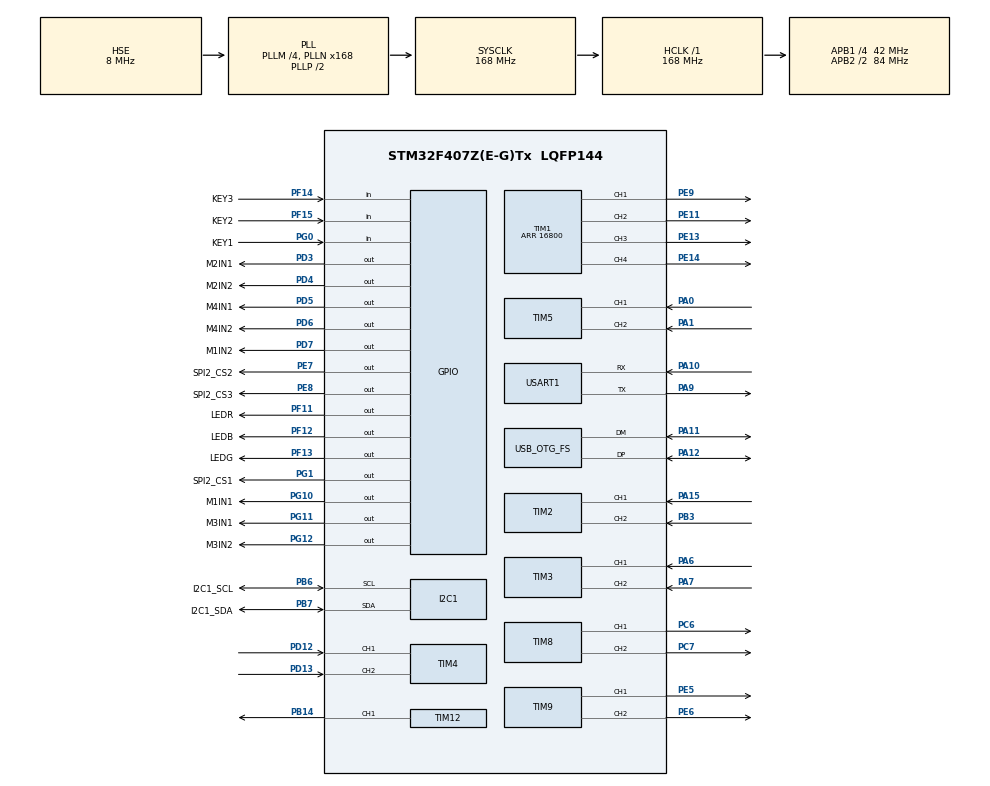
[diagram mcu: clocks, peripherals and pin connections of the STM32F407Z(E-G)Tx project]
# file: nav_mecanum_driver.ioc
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FREERTOS.BinarySemaphores01=MicroROSSemaphore,Dynamic,NULL
FREERTOS.INCLUDE_eTaskGetState=1
FREERTOS.INCLUDE_pcTaskGetTaskName=1
FREERTOS.INCLUDE_uxTaskGetStackHighWaterMark=1
FREERTOS.INCLUDE_uxTaskGetStackHighWaterMark2=1
FREERTOS.INCLUDE_uxTaskPriorityGet=1
FREERTOS.INCLUDE_vTaskCleanUpResources=1
FREERTOS.INCLUDE_vTaskDelayUntil=1
FREERTOS.INCLUDE_vTaskDelete=1
FREERTOS.INCLUDE_vTaskPrioritySet=1
FREERTOS.INCLUDE_xEventGroupSetBitFromISR=1
FREERTOS.INCLUDE_xQueueGetMutexHolder=1
FREERTOS.INCLUDE_xSemaphoreGetMutexHolder=1
FREERTOS.INCLUDE_xTaskAbortDelay=1
FREERTOS.INCLUDE_xTaskGetCurrentTaskHandle=1
FREERTOS.INCLUDE_xTaskGetHandle=1
FREERTOS.INCLUDE_xTaskGetSchedulerState=1
FREERTOS.INCLUDE_xTaskResumeFromISR=1
FREERTOS.INCLUDE_xTimerPendFunctionCall=1
FREERTOS.Tasks01=defaultTask,-3,800,StartDefaultTask,Default,NULL,Dynamic,NULL,NULL;Task_PublishIMU,1,1024,PublishIMU,Default,NULL,Dynamic,NULL,NULL;Task_ExecuteSpin,0,2048,ExecuteSpin,Default,NULL,Dynamic,NULL,NULL;Task_PingAgent,2,1024,PingAgent,Default,NULL,Dynamic,NULL,NULL;Task_PublishJointStates,-1,1024,PublishJointStates,Default,NULL,Dynamic,NULL,NULL
FREERTOS.Timers01=Timer_MotorAdjust,MotorAdjustcb,osTimerPeriodic,Default,NULL,Dynamic,NULL
FREERTOS.configENABLE_FPU=1
FREERTOS.configGENERATE_RUN_TIME_STATS=1
FREERTOS.configMAX_TASK_NAME_LEN=64
FREERTOS.configTOTAL_HEAP_SIZE=32768
FREERTOS.configUSE_IDLE_HOOK=1
FREERTOS.configUSE_NEWLIB_REENTRANT=1
FREERTOS.configUSE_STATS_FORMATTING_FUNCTIONS=1
FREERTOS.configUSE_TICK_HOOK=1
FREERTOS.configUSE_TIMERS=1
I2C1.I2C_Mode=I2C_Fast
Mcu.Family=STM32F4
Mcu.Name=STM32F407Z(E-G)Tx
Mcu.Package=LQFP144
NVIC.OTG_FS_IRQn=true\:5\:0\:false\:false\:true\:true\:false\:true\:true
NVIC.PriorityGroup=NVIC_PRIORITYGROUP_4
NVIC.TIM6_DAC_IRQn=true\:5\:0\:false\:false\:true\:true\:true\:true\:true
NVIC.TIM7_IRQn=true\:15\:0\:false\:false\:true\:false\:false\:true\:true
NVIC.TimeBase=TIM7_IRQn
NVIC.TimeBaseIP=TIM7
PA0-WKUP.Signal=S_TIM5_CH1
PA1.Signal=S_TIM5_CH2
PA10.Mode=Asynchronous
PA10.Signal=USART1_RX
PA11.Mode=Device_Only
PA11.Signal=USB_OTG_FS_DM
PA12.Mode=Device_Only
PA12.Signal=USB_OTG_FS_DP
PA13.Mode=Serial_Wire
PA13.Signal=SYS_JTMS-SWDIO
PA14.Mode=Serial_Wire
PA14.Signal=SYS_JTCK-SWCLK
PA15.Signal=S_TIM2_CH1_ETR
PA6.Signal=S_TIM3_CH1
PA7.Signal=S_TIM3_CH2
PA9.Mode=Asynchronous
PA9.Signal=USART1_TX
PB14.Signal=S_TIM12_CH1
PB3.Signal=S_TIM2_CH2
PB6.GPIO_Label=I2C1_SCL
PB6.Mode=I2C
PB6.Signal=I2C1_SCL
PB7.GPIO_Label=I2C1_SDA
PB7.Mode=I2C
PB7.Signal=I2C1_SDA
PC6.Signal=S_TIM8_CH1
PC7.Signal=S_TIM8_CH2
PD12.Signal=S_TIM4_CH1
PD13.Signal=S_TIM4_CH2
PD3.GPIO_Label=M2IN1
PD3.Signal=GPIO_Output
PD4.GPIO_Label=M2IN2
PD4.Signal=GPIO_Output
PD5.GPIO_Label=M4IN1
PD5.Signal=GPIO_Output
PD6.GPIO_Label=M4IN2
PD6.Signal=GPIO_Output
PD7.GPIO_Label=M1IN2
PD7.Signal=GPIO_Output
PE11.Signal=S_TIM1_CH2
PE13.Signal=S_TIM1_CH3
PE14.Signal=S_TIM1_CH4
PE5.Signal=S_TIM9_CH1
PE6.Signal=S_TIM9_CH2
PE7.GPIO_Label=SPI2_CS2
PE7.Signal=GPIO_Output
PE8.GPIO_Label=SPI2_CS3
PE8.Signal=GPIO_Output
PE9.Signal=S_TIM1_CH1
PF11.GPIO_Label=LEDR
PF11.Signal=GPIO_Output
PF12.GPIO_Label=LEDB
PF12.Signal=GPIO_Output
PF13.GPIO_Label=LEDG
PF13.Signal=GPIO_Output
PF14.GPIO_Label=KEY3
PF14.Signal=GPIO_Input
PF15.GPIO_Label=KEY2
PF15.Signal=GPIO_Input
PG0.GPIO_Label=KEY1
PG0.Signal=GPIO_Input
PG1.GPIO_Label=SPI2_CS1
PG1.Signal=GPIO_Output
PG10.GPIO_Label=M1IN1
PG10.Signal=GPIO_Output
PG11.GPIO_Label=M3IN1
PG11.Signal=GPIO_Output
PG12.GPIO_Label=M3IN2
PG12.Signal=GPIO_Output
PH0-OSC_IN.Mode=HSE-External-Oscillator
PH0-OSC_IN.Signal=RCC_OSC_IN
PH1-OSC_OUT.Mode=HSE-External-Oscillator
PH1-OSC_OUT.Signal=RCC_OSC_OUT
ProjectManager.HeapSize=0x600
ProjectManager.StackSize=0x1000
ProjectManager.TargetToolchain=STM32CubeIDE
RCC.48MHZClocksFreq_Value=48000000
RCC.AHBFreq_Value=168000000
RCC.APB1CLKDivider=RCC_HCLK_DIV4
RCC.APB1Freq_Value=42000000
RCC.APB1TimFreq_Value=84000000
RCC.APB2CLKDivider=RCC_HCLK_DIV2
RCC.APB2Freq_Value=84000000
RCC.APB2TimFreq_Value=168000000
RCC.CortexFreq_Value=168000000
RCC.HCLKFreq_Value=168000000
RCC.HSE_VALUE=8000000
RCC.HSI_VALUE=16000000
RCC.LSE_VALUE=32768
RCC.PLLM=4
RCC.PLLN=168
RCC.PLLQ=7
RCC.RCC_RTC_Clock_SourceVirtual=RCC_RTCCLKSOURCE_HSE_DIV8
RCC.RCC_RTC_Clock_Source_FROM_HSE=RCC_RTCCLKSOURCE_HSE_DIV8
RCC.SYSCLKFreq_VALUE=168000000
RCC.SYSCLKSource=RCC_SYSCLKSOURCE_PLLCLK
RCC.VCOOutputFreq_Value=336000000
RTC.AsynchPrediv=49
RTC.Date=19
RTC.Format=RTC_FORMAT_BIN
RTC.Hours=18
RTC.Minutes=37
RTC.Month=RTC_MONTH_SEPTEMBER
RTC.Seconds=30
RTC.SynchPrediv=19999
RTC.WeekDay=RTC_WEEKDAY_TUESDAY
RTC.Year=53
SH.S_TIM12_CH1.0=TIM12_CH1,PWM Generation1 CH1
SH.S_TIM1_CH1.0=TIM1_CH1,PWM Generation1 CH1
SH.S_TIM1_CH2.0=TIM1_CH2,PWM Generation2 CH2
SH.S_TIM1_CH3.0=TIM1_CH3,PWM Generation3 CH3
SH.S_TIM1_CH4.0=TIM1_CH4,PWM Generation4 CH4
SH.S_TIM2_CH1_ETR.0=TIM2_CH1,Encoder_Interface
SH.S_TIM2_CH2.0=TIM2_CH2,Encoder_Interface
SH.S_TIM3_CH1.0=TIM3_CH1,Encoder_Interface
SH.S_TIM3_CH2.0=TIM3_CH2,Encoder_Interface
SH.S_TIM4_CH1.0=TIM4_CH1,Encoder_Interface
SH.S_TIM4_CH2.0=TIM4_CH2,Encoder_Interface
SH.S_TIM5_CH1.0=TIM5_CH1,Encoder_Interface
SH.S_TIM5_CH2.0=TIM5_CH2,Encoder_Interface
SH.S_TIM8_CH1.0=TIM8_CH1,PWM Generation1 CH1
SH.S_TIM8_CH2.0=TIM8_CH2,PWM Generation2 CH2
SH.S_TIM9_CH1.0=TIM9_CH1,PWM Generation1 CH1
SH.S_TIM9_CH2.0=TIM9_CH2,PWM Generation2 CH2
TIM1.Channel-PWM\ Generation1\ CH1=TIM_CHANNEL_1
TIM1.Channel-PWM\ Generation2\ CH2=TIM_CHANNEL_2
TIM1.Channel-PWM\ Generation3\ CH3=TIM_CHANNEL_3
TIM1.Channel-PWM\ Generation4\ CH4=TIM_CHANNEL_4
TIM1.Period=16800
TIM12.Channel-PWM\ Generation1\ CH1=TIM_CHANNEL_1
TIM2.EncoderMode=TIM_ENCODERMODE_TI12
TIM3.EncoderMode=TIM_ENCODERMODE_TI12
TIM4.EncoderMode=TIM_ENCODERMODE_TI12
TIM6.Period=16800
TIM6.Prescaler=0
TIM8.Channel-PWM\ Generation1\ CH1=TIM_CHANNEL_1
TIM8.Channel-PWM\ Generation2\ CH2=TIM_CHANNEL_2
TIM9.Channel-PWM\ Generation1\ CH1=TIM_CHANNEL_1
TIM9.Channel-PWM\ Generation2\ CH2=TIM_CHANNEL_2
USART1.VirtualMode=VM_ASYNC
USB_DEVICE.CLASS_NAME_FS=CDC
USB_DEVICE.PRODUCT_STRING_CDC_FS=WHUCAR
USB_DEVICE.USBD_DEBUG_LEVEL-CDC_FS=2
USB_DEVICE.VirtualMode-CDC_FS=Cdc
USB_DEVICE.VirtualModeFS=Cdc_FS
USB_OTG_FS.VirtualMode=Device_Only
VP_FREERTOS_VS_CMSIS_V1.Mode=CMSIS_V1
VP_RTC_VS_RTC_Activate.Mode=RTC_Enabled
VP_RTC_VS_RTC_Calendar.Mode=RTC_Calendar
VP_SYS_VS_tim7.Mode=TIM7
VP_TIM6_VS_ClockSourceINT.Mode=Enable_Timer
VP_USB_DEVICE_VS_USB_DEVICE_CDC_FS.Mode=CDC_FS
board=custom

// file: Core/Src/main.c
/* USER CODE BEGIN Header */
/**
  ******************************************************************************
  * @file           : main.c
  * @brief          : Main program body
  ******************************************************************************
  * @attention
  *
  * Copyright (c) 2023 STMicroelectronics.
  * All rights reserved.
  *
  * This software is licensed under terms that can be found in the LICENSE file
  * in the root directory of this software component.
  * If no LICENSE file comes with this software, it is provided AS-IS.
  *
  ******************************************************************************
  */
/* USER CODE END Header */
#include "main.h"
#include "cmsis_os.h"
#include "i2c.h"
#include "rtc.h"
#include "tim.h"
#include "usart.h"
#include "usb_device.h"
#include "gpio.h"

/* USER CODE BEGIN Includes */
#include <time.h>
#include <errno.h>
#include <stdio.h>
#include <unistd.h>
/* USER CODE END Includes */

/* USER CODE BEGIN PV */
uint32_t g_time_second;
uint32_t g_time_nanosecond;
/* USER CODE END PV */

void SystemClock_Config(void);
void MX_FREERTOS_Init(void);

int main(void)
{

  /* MCU Configuration--------------------------------------------------------*/

  /* Reset of all peripherals, Initializes the Flash interface and the Systick. */
  HAL_Init();

  /* Configure the system clock */
  SystemClock_Config();

  /* Initialize all configured peripherals */
  MX_GPIO_Init();
  MX_TIM1_Init();
  MX_USART1_UART_Init();
  MX_TIM2_Init();
  MX_TIM3_Init();
  MX_TIM4_Init();
  MX_TIM5_Init();
  MX_I2C1_Init();
  MX_TIM8_Init();
  MX_TIM9_Init();
  MX_TIM12_Init();
  MX_RTC_Init();
  MX_TIM6_Init();
  /* USER CODE BEGIN 2 */

  printf("[INFO] hardware peripheral init done.\r\n");
  /* USER CODE END 2 */

  /* Call init function for freertos objects (in freertos.c) */
  MX_FREERTOS_Init();

  /* Start scheduler */
  osKernelStart();

  /* We should never get here as control is now taken by the scheduler */
  /* Infinite loop */
  while (1)
  {

  }
}

void SystemClock_Config(void)
{
  RCC_OscInitTypeDef RCC_OscInitStruct = {0};
  RCC_ClkInitTypeDef RCC_ClkInitStruct = {0};

  /** Configure the main internal regulator output voltage
  */
  __HAL_RCC_PWR_CLK_ENABLE();
  __HAL_PWR_VOLTAGESCALING_CONFIG(PWR_REGULATOR_VOLTAGE_SCALE1);

  /** Initializes the RCC Oscillators according to the specified parameters
  * in the RCC_OscInitTypeDef structure.
  */
  RCC_OscInitStruct.OscillatorType = RCC_OSCILLATORTYPE_HSE;
  RCC_OscInitStruct.HSEState = RCC_HSE_ON;
  RCC_OscInitStruct.PLL.PLLState = RCC_PLL_ON;
  RCC_OscInitStruct.PLL.PLLSource = RCC_PLLSOURCE_HSE;
  RCC_OscInitStruct.PLL.PLLM = 4;
  RCC_OscInitStruct.PLL.PLLN = 168;
  RCC_OscInitStruct.PLL.PLLP = RCC_PLLP_DIV2;
  RCC_OscInitStruct.PLL.PLLQ = 7;
  if (HAL_RCC_OscConfig(&RCC_OscInitStruct) != HAL_OK)
  {
    Error_Handler();
  }

  /** Initializes the CPU, AHB and APB buses clocks
  */
  RCC_ClkInitStruct.ClockType = RCC_CLOCKTYPE_HCLK|RCC_CLOCKTYPE_SYSCLK
                              |RCC_CLOCKTYPE_PCLK1|RCC_CLOCKTYPE_PCLK2;
  RCC_ClkInitStruct.SYSCLKSource = RCC_SYSCLKSOURCE_PLLCLK;
  RCC_ClkInitStruct.AHBCLKDivider = RCC_SYSCLK_DIV1;
  RCC_ClkInitStruct.APB1CLKDivider = RCC_HCLK_DIV4;
  RCC_ClkInitStruct.APB2CLKDivider = RCC_HCLK_DIV2;

  if (HAL_RCC_ClockConfig(&RCC_ClkInitStruct, FLASH_LATENCY_5) != HAL_OK)
  {
    Error_Handler();
  }
}

/* USER CODE BEGIN 4 */
int _gettimeofday( struct timeval *tv, void *tzvp )
{
    (void)tv;
    (void)tzvp;
    return 0;
}

int clock_gettime( clockid_t clock_id,struct timespec * tp )
{
    (void)clock_id;
    RTC_TimeTypeDef rtc_time = {0};
    RTC_DateTypeDef rtc_date = {0};
    struct tm _tm;
    HAL_RTC_GetTime(&hrtc, &rtc_time, RTC_FORMAT_BIN);
    HAL_RTC_GetDate(&hrtc, &rtc_date, RTC_FORMAT_BIN);
    _tm.tm_year = rtc_date.Year+70; //RTC_Year rang 0-99,but tm_year since 1900
    _tm.tm_mon = rtc_date.Month;   //RTC_Month rang 1-12,but tm_mon rang 0-11
    _tm.tm_mday = rtc_date.Date;     //RTC_Date rang 1-31 and tm_mday rang 1-31
    _tm.tm_hour = rtc_time.Hours;  //RTC_Hours rang 0-23 and tm_hour rang 0-23
    _tm.tm_min = rtc_time.Minutes;   //RTC_Minutes rang 0-59 and tm_min rang 0-59
    _tm.tm_sec = rtc_time.Seconds;
    tp->tv_sec = mktime(&_tm);
    tp->tv_nsec = (long)((float)(hrtc.Init.SynchPrediv - rtc_time.SubSeconds)/(hrtc.Init.SynchPrediv+1.0f)*1000000000.0f);
    return 0;
}
int _write(int file, char *data, int len)
{
   if ((file != STDOUT_FILENO) && (file != STDERR_FILENO))
   {
        errno = EBADF;
        return -1;
   }

   // arbitrary timeout 1000
   HAL_StatusTypeDef status = HAL_UART_Transmit(&huart1, (uint8_t*)data, len, 1000);

   // return # of bytes written - as best we can tell
   return (status == HAL_OK ? len : 0);
}
/* USER CODE END 4 */

void HAL_TIM_PeriodElapsedCallback(TIM_HandleTypeDef *htim)
{
  if (htim->Instance == TIM7) {
    HAL_IncTick();
  }
  /* USER CODE BEGIN Callback 1 */
  if(htim->Instance == TIM6){

  }
  /* USER CODE END Callback 1 */
}

void Error_Handler(void)
{
  __disable_irq();
  while (1)
  {
  }
}

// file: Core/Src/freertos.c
/* USER CODE BEGIN Header */
/**
  ******************************************************************************
  * File Name          : freertos.c
  * Description        : Code for freertos applications
  ******************************************************************************
  * @attention
  *
  * Copyright (c) 2023 STMicroelectronics.
  * All rights reserved.
  *
  * This software is licensed under terms that can be found in the LICENSE file
  * in the root directory of this software component.
  * If no LICENSE file comes with this software, it is provided AS-IS.
  *
  ******************************************************************************
  */
/* USER CODE END Header */

#include "FreeRTOS.h"
#include "task.h"
#include "main.h"
#include "cmsis_os.h"

/* USER CODE BEGIN Includes */
/* C standard library */
#include <stdio.h>
#include <time.h>
#include <math.h>
#include <cpu_utils.h>

#include "uxr_client.h"

/* STM32 Peripherals */
#include "rtc.h"
#include "tim.h"

/* Board Peripheral drivers */
#include "motor.h"
#include "led.h"
#include "icm20602.h"

/* USER CODE END Includes */

/* USER CODE BEGIN PD */
#define UXR_CLIENT_REESTABLISH (0x00000001)
/* USER CODE END PD */

/* USER CODE BEGIN Variables */

/* system control states */
// uint16_t ReleaseTime = 0; // unit:ms
// uint8_t u8TaskListBuff[32];

/* USER CODE END Variables */
osThreadId defaultTaskHandle;
osThreadId Task_PublishIMUHandle;
osThreadId Task_ExecuteSpinHandle;
osThreadId Task_PingAgentHandle;
osThreadId Task_PublishJointStatesHandle;
osTimerId Timer_MotorAdjustHandle;
osSemaphoreId UXRSemaphoreHandle;

void StartDefaultTask(void const * argument);
void PublishIMU(void const * argument);
void ExecuteSpin(void const * argument);
void PingAgent(void const * argument);
void PublishJointStates(void const * argument);
void MotorAdjustcb(void const * argument);

extern void MX_USB_DEVICE_Init(void);
void MX_FREERTOS_Init(void); /* (MISRA C 2004 rule 8.1) */

/* GetIdleTaskMemory prototype (linked to static allocation support) */
void vApplicationGetIdleTaskMemory( StaticTask_t **ppxIdleTaskTCBBuffer, StackType_t **ppxIdleTaskStackBuffer, uint32_t *pulIdleTaskStackSize );

/* GetTimerTaskMemory prototype (linked to static allocation support) */
void vApplicationGetTimerTaskMemory( StaticTask_t **ppxTimerTaskTCBBuffer, StackType_t **ppxTimerTaskStackBuffer, uint32_t *pulTimerTaskStackSize );

/* Hook prototypes */
void configureTimerForRunTimeStats(void);
unsigned long getRunTimeCounterValue(void);
void vApplicationIdleHook(void);
void vApplicationTickHook(void);

/* USER CODE BEGIN 1 */
/* Functions needed when configGENERATE_RUN_TIME_STATS is on */
__weak void configureTimerForRunTimeStats(void)
{

}

__weak unsigned long getRunTimeCounterValue(void)
{
return 0;
}
/* USER CODE END 1 */

/* USER CODE BEGIN 2 */
__weak void vApplicationIdleHook( void )
{
   /* vApplicationIdleHook() will only be called if configUSE_IDLE_HOOK is set
   to 1 in FreeRTOSConfig.h. It will be called on each iteration of the idle
   task. It is essential that code added to this hook function never attempts
   to block in any way (for example, call xQueueReceive() with a block time
   specified, or call vTaskDelay()). If the application makes use of the
   vTaskDelete() API function (as this demo application does) then it is also
   important that vApplicationIdleHook() is permitted to return to its calling
   function, because it is the responsibility of the idle task to clean up
   memory allocated by the kernel to any task that has since been deleted. */
}
/* USER CODE END 2 */

/* USER CODE BEGIN 3 */
__weak void vApplicationTickHook( void )
{
   /* This function will be called by each tick interrupt if
   configUSE_TICK_HOOK is set to 1 in FreeRTOSConfig.h. User code can be
   added here, but the tick hook is called from an interrupt context, so
   code must not attempt to block, and only the interrupt safe FreeRTOS API
   functions can be used (those that end in FromISR()). */
}
/* USER CODE END 3 */

/* USER CODE BEGIN GET_IDLE_TASK_MEMORY */
static StaticTask_t xIdleTaskTCBBuffer;
static StackType_t xIdleStack[configMINIMAL_STACK_SIZE];

void vApplicationGetIdleTaskMemory( StaticTask_t **ppxIdleTaskTCBBuffer, StackType_t **ppxIdleTaskStackBuffer, uint32_t *pulIdleTaskStackSize )
{
  *ppxIdleTaskTCBBuffer = &xIdleTaskTCBBuffer;
  *ppxIdleTaskStackBuffer = &xIdleStack[0];
  *pulIdleTaskStackSize = configMINIMAL_STACK_SIZE;
  /* place for user code */
}
/* USER CODE END GET_IDLE_TASK_MEMORY */

/* USER CODE BEGIN GET_TIMER_TASK_MEMORY */
static StaticTask_t xTimerTaskTCBBuffer;
static StackType_t xTimerStack[configTIMER_TASK_STACK_DEPTH];

void vApplicationGetTimerTaskMemory( StaticTask_t **ppxTimerTaskTCBBuffer, StackType_t **ppxTimerTaskStackBuffer, uint32_t *pulTimerTaskStackSize )
{
  *ppxTimerTaskTCBBuffer = &xTimerTaskTCBBuffer;
  *ppxTimerTaskStackBuffer = &xTimerStack[0];
  *pulTimerTaskStackSize = configTIMER_TASK_STACK_DEPTH;
  /* place for user code */
}
/* USER CODE END GET_TIMER_TASK_MEMORY */

void MX_FREERTOS_Init(void) {

  /* Create the semaphores(s) */
  /* definition and creation of MicroROSSemaphore */
  osSemaphoreDef(UXRSemaphore);
  UXRSemaphoreHandle = osSemaphoreCreate(osSemaphore(UXRSemaphore), 1);

  /* Create the timer(s) */
  /* definition and creation of Timer_MotorAdjust */
  osTimerDef(Timer_MotorAdjust, MotorAdjustcb);
  Timer_MotorAdjustHandle = osTimerCreate(osTimer(Timer_MotorAdjust), osTimerPeriodic, NULL);

  /* Create the thread(s) */
  /* definition and creation of defaultTask */
  osThreadDef(defaultTask, StartDefaultTask, osPriorityIdle, 0, 512);
  defaultTaskHandle = osThreadCreate(osThread(defaultTask), NULL);

  /* definition and creation of Task_PublishIMU */
  osThreadDef(Task_PublishIMU, PublishIMU, osPriorityAboveNormal, 0, 512);
  Task_PublishIMUHandle = osThreadCreate(osThread(Task_PublishIMU), NULL);

  /* definition and creation of Task_ExecuteSpin */
  osThreadDef(Task_ExecuteSpin, ExecuteSpin, osPriorityBelowNormal, 0, 512);
  Task_ExecuteSpinHandle = osThreadCreate(osThread(Task_ExecuteSpin), NULL);

  /* definition and creation of Task_PingAgent */
  osThreadDef(Task_PingAgent, PingAgent, osPriorityHigh, 0, 512);
  Task_PingAgentHandle = osThreadCreate(osThread(Task_PingAgent), NULL);

  /* definition and creation of Task_PublishJointStates */
  osThreadDef(Task_PublishJointStates, PublishJointStates, osPriorityNormal, 0, 512);
  Task_PublishJointStatesHandle = osThreadCreate(osThread(Task_PublishJointStates), NULL);

  /* USER CODE BEGIN RTOS_THREADS */
  /* add threads, ... */

  /* Suspend FreeRTOS tasks to avoid running micro-ros before initialization.
   * Tasks are resumed after micro-ros initialization. */
  osThreadSuspend(Task_PublishIMUHandle);
  osThreadSuspend(Task_ExecuteSpinHandle);
  osThreadSuspend(Task_PingAgentHandle);
  osThreadSuspend(Task_PublishJointStatesHandle);
  /* USER CODE END RTOS_THREADS */

}

void StartDefaultTask(void const * argument)
{
    /* init code for USB_DEVICE */
    MX_USB_DEVICE_Init();
    /* USER CODE BEGIN StartDefaultTask */

    /***************************************/
    /*           DC motor init             */
    /***************************************/
    DCMotor_Init(&LeftFrontMotor,     // initialize left front motor
          DCMOTOR_DEFAULT_DIRECTION,  // set default rotation as reverse
          ENCODER_DEFAULT,            // set encoder counts to the negative of original value
          &htim1,                     // set PWM generator timer module
          TIM_CHANNEL_1,              // set PWM generator timer output channel
          M1IN1_GPIO_Port,            // set logic control-1 GPIO port
          M1IN1_Pin,                  // set logic control-1 GPIO pin
          M1IN2_GPIO_Port,            // set logic control-2 GPIO port
          M1IN2_Pin);                 // set logic control-2 GPIO pin
    PID_Init(&LeftFrontMotor.VelocityController, 3.0, 0.1, 0.0);
    PID_Init(&LeftFrontMotor.PositionController, 2.0, 0.0, 2.0);
    LeftFrontMotor.EncTimer = &htim3;
    DCMotor_Init(&LeftRearMotor,      // initialize left front motor
          DCMOTOR_REVERSE_DIRECTION,  // set default rotation as reverse
          ENCODER_DEFAULT,            // set encoder counts to the negative of original value
          &htim1,                     // set PWM generator timer module
          TIM_CHANNEL_2,              // set PWM generator timer output channel
          M2IN1_GPIO_Port,            // set logic control-1 GPIO port
          M2IN1_Pin,                  // set logic control-1 GPIO pin
          M2IN2_GPIO_Port,            // set logic control-2 GPIO port
          M2IN2_Pin);                 // set logic control-2 GPIO pin
    PID_Init(&LeftRearMotor.VelocityController, 3.0, 0.1, 0.0);
    PID_Init(&LeftRearMotor.PositionController, 2.0, 0.0, 2.0);
    LeftRearMotor.EncTimer = &htim4;
    DCMotor_Init(&RightFrontMotor,      // initialize left front motor
          DCMOTOR_DEFAULT_DIRECTION,  // set default rotation as reverse
          ENCODER_REVERSE,            // set encoder counts to the negative of original value
          &htim1,                     // set PWM generator timer module
          TIM_CHANNEL_3,              // set PWM generator timer output channel
          M3IN1_GPIO_Port,            // set logic control-1 GPIO port
          M3IN1_Pin,                  // set logic control-1 GPIO pin
          M3IN2_GPIO_Port,            // set logic control-2 GPIO port
          M3IN2_Pin);                 // set logic control-2 GPIO pin
    PID_Init(&RightFrontMotor.VelocityController, 3.0, 0.1, 0.0);
    PID_Init(&RightFrontMotor.PositionController, 2.0, 0.0, 2.0);
    RightFrontMotor.EncTimer = &htim5;
    DCMotor_Init(&RightRearMotor,       // initialize left front motor
          DCMOTOR_REVERSE_DIRECTION,  // set default rotation as reverse
          ENCODER_REVERSE,            // set encoder counts to the negative of original value
          &htim1,                     // set PWM generator timer module
          TIM_CHANNEL_4,              // set PWM generator timer output channel
          M4IN1_GPIO_Port,            // set logic control-1 GPIO port
          M4IN1_Pin,                  // set logic control-1 GPIO pin
          M4IN2_GPIO_Port,            // set logic control-2 GPIO port
          M4IN2_Pin);                 // set logic control-2 GPIO pin
    PID_Init(&RightRearMotor.VelocityController, 3.0, 0.1, 0.0);
    PID_Init(&RightRearMotor.PositionController, 2.0, 0.0, 2.0);
    RightRearMotor.EncTimer = &htim2;

    /***************************************/
    /*         IMU ICM20602 init           */
    /***************************************/
    ICM20602_Init();

    /* enable motor encoder */
    HAL_TIM_Encoder_Start(&htim2, TIM_CHANNEL_ALL);
    HAL_TIM_Encoder_Start(&htim3, TIM_CHANNEL_ALL);
    HAL_TIM_Encoder_Start(&htim4, TIM_CHANNEL_ALL);
    HAL_TIM_Encoder_Start(&htim5, TIM_CHANNEL_ALL);
    HAL_TIM_PWM_Start(&htim1,TIM_CHANNEL_1);
    HAL_TIM_PWM_Start(&htim1,TIM_CHANNEL_2);
    HAL_TIM_PWM_Start(&htim1,TIM_CHANNEL_3);
    HAL_TIM_PWM_Start(&htim1,TIM_CHANNEL_4);

    if(uxrce_client_init())
    {
        printf("[ERROR]Micro-XRCE-DDS-Client initialization failed.\r\n");
        Set_RGBLED(RED_ON, GREEN_OFF, BLUE_OFF);
    }
    else
    {
        Set_RGBLED(RED_OFF, GREEN_ON, BLUE_OFF);
        printf("[INFO]Micro-XRCE-DDS-Client initialized.\r\n");
    }

    create_publisher_imu();
    create_publisher_joint_state();
    create_subscriber_joint_jog();

    // osThreadResume(Task_ExecuteSpinHandle);
    osThreadResume(Task_PublishIMUHandle);
    osThreadResume(Task_PublishJointStatesHandle);
    // osThreadResume(Task_PingAgentHandle);
    osTimerStart(Timer_MotorAdjustHandle,ENCODER_UPDATE_INTERVAL);

    // uint32_t ulNotifiedValue = 0;
    /* Infinite loop */
    for(;;)
    {
        /* idle task for FreeRTOS memory management */
        osDelay(1000);
        // memset(u8TaskListBuff, 0, 400);
        // vTaskGetRunTimeStats((char*)u8TaskListBuff);
        printf("[INFO] CPU Usage:%d%%\r\n",osGetCPUUsage());
        // xTaskNotifyWait(0x00000000,0xFFFFFFFF,&ulNotifiedValue,1000);
        // if(ulNotifiedValue==UXR_CLIENT_REESTABLISH)
        // {
        //     printf("[INFO] Re-establishing Micro-XRCE-DDS-Client connection...\r\n");
        //     uxr_delete_session(&session);
        //     uxrce_client_init();
        //     create_publisher_imu();
        //     osThreadResume(Task_PublishIMUHandle);
        //     osThreadResume(Task_PingAgentHandle);
        //     osThreadResume(Task_ExecuteSpinHandle);
        //     osThreadResume(Task_PublishJointStatesHandle);
        //     osTimerStart(Timer_MotorAdjustHandle,ENCODER_UPDATE_INTERVAL);
        // }
    }
    /* USER CODE END StartDefaultTask */
}

void PublishIMU(void const * argument)
{
  /* USER CODE BEGIN PublishIMU */
    TickType_t xLastWakeTime;
    const TickType_t xFrequency = 5;
    int64_t current_time_nano = 0;
    xLastWakeTime = xTaskGetTickCount();
    /* Infinite loop */
    for(;;)
    {
        vTaskDelayUntil( &xLastWakeTime, xFrequency );
        ICM20602_Update();
        current_time_nano = uxr_epoch_nanos(&session);
        msg_imu.header.stamp.sec = current_time_nano/1000000000;
        msg_imu.header.stamp.nanosec = current_time_nano%1000000000;
        msg_imu.linear_acceleration.x = -ICM20602_dev.Ay;
        msg_imu.linear_acceleration.y = ICM20602_dev.Ax;
        msg_imu.linear_acceleration.z = ICM20602_dev.Az;
        msg_imu.angular_velocity.x = ICM20602_dev.Gy;
        msg_imu.angular_velocity.y = ICM20602_dev.Gx;
        msg_imu.angular_velocity.z = -ICM20602_dev.Gz;
        osSemaphoreWait(UXRSemaphoreHandle,0XFFFFFFFF);
        if(publish_imu())
        {
            printf("[ERROR]IMU publish failed!\r\n");
        }
        osSemaphoreRelease(UXRSemaphoreHandle);
        // printf("[INFO] X=%lf Y=%lf Z=%lf\r\n", ICM20602_dev.AngleX, ICM20602_dev.AngleY, ICM20602_dev.AngleZ);
    }
  /* USER CODE END PublishIMU */
}

void ExecuteSpin(void const * argument)
{
  /* USER CODE BEGIN ExecuteSpin */
    /* Infinite loop */
    for(;;)
    {
        osSemaphoreWait(UXRSemaphoreHandle,0XFFFFFFFF);
        // Spin executor to receive messages
        uxr_run_session_timeout(&session, 100);
        // uxr_run_session_until_confirm_delivery(&session ,0x7FFFFFFF);
        // uxr_run_session_until_data(&session,0x7FFFFFFF);
        osSemaphoreRelease(UXRSemaphoreHandle);
        osDelay(5);
    }
  /* USER CODE END ExecuteSpin */
}

void PingAgent(void const * argument)
{
    /* USER CODE BEGIN PingAgent */
    uint8_t disconnect_count = 0;
    TickType_t xLastWakeTime;
    const TickType_t xFrequency = 1000;
    xLastWakeTime = xTaskGetTickCount();

    /* Infinite loop */
    for(;;)
    {
        vTaskDelayUntil( &xLastWakeTime, xFrequency );
        osSemaphoreWait(UXRSemaphoreHandle,0XFFFFFFFF);
        if (uxr_ping_agent_session(&session, 10, 1))
        {
            // printf("[INFO]Agent connected.\r\n");
            disconnect_count = 0;
        }
        else
        {
            disconnect_count++;
            if(disconnect_count >= 3)
            {
                printf("[ERROR]Agent disconnected.\r\n");
                HAL_NVIC_SystemReset();
                // disconnect_count = 0;
                // vTaskSuspend(Task_PublishIMUHandle);
                // vTaskSuspend(Task_PingAgentHandle);
                // vTaskSuspend(Task_PublishJointStatesHandle);
                // vTaskSuspend(Task_ExecuteSpinHandle);
                // xTimerStop(Timer_MotorAdjustHandle,0);
                // xTaskNotify(defaultTaskHandle,UXR_CLIENT_REESTABLISH,eSetBits);
            }
        }
        osSemaphoreRelease(UXRSemaphoreHandle);
    }
    /* USER CODE END PingAgent */
}

void PublishJointStates(void const * argument)
{
    /* USER CODE BEGIN PublishJointStates */
    int64_t current_time_nano = 0;
    TickType_t xLastWakeTime;
    const TickType_t xFrequency = 50;
    xLastWakeTime = xTaskGetTickCount();

    /* Infinite loop */
    for(;;)
    {
        vTaskDelayUntil( &xLastWakeTime, xFrequency );
        msg_joint_state.position[0] = LeftFrontMotor.CurrentAngle;
        msg_joint_state.position[1] = LeftRearMotor.CurrentAngle;
        msg_joint_state.position[2] = RightFrontMotor.CurrentAngle;
        msg_joint_state.position[3] = RightRearMotor.CurrentAngle;

        msg_joint_state.velocity[0] = LeftFrontMotor.CurrentVelocity;
        msg_joint_state.velocity[1] = LeftRearMotor.CurrentVelocity;
        msg_joint_state.velocity[2] = RightFrontMotor.CurrentVelocity;
        msg_joint_state.velocity[3] = RightRearMotor.CurrentVelocity;

        osSemaphoreWait(UXRSemaphoreHandle,0XFFFFFFFF);
        current_time_nano = uxr_epoch_nanos(&session);
        msg_joint_state.header.stamp.sec = current_time_nano/1000000000;
        msg_joint_state.header.stamp.nanosec = current_time_nano%1000000000;
        if(publish_joint_state())
        {
            printf("[ERROR]Joint state publish failed!\r\n");
        }
        osSemaphoreRelease(UXRSemaphoreHandle);
    }

    /* USER CODE END PublishJointStates */
}

/* MotorAdjustcb function */
void MotorAdjustcb(void const * argument)
{
    /* USER CODE BEGIN MotorAdjustcb */
    // if(ReleaseTime == 0)
    // {
    //     DCMotor_SetVelocity(&LeftFrontMotor, 0);
    //     DCMotor_SetVelocity(&LeftRearMotor, 0);
    //     DCMotor_SetVelocity(&RightFrontMotor, 0);
    //     DCMotor_SetVelocity(&RightRearMotor, 0);
    // }
    // else
    // {
    //     ReleaseTime -= ENCODER_UPDATE_INTERVAL;
    // }

    DCMotor_AdjustVelocity(&LeftFrontMotor );
    DCMotor_AdjustVelocity(&LeftRearMotor  );
    DCMotor_AdjustVelocity(&RightFrontMotor);
    DCMotor_AdjustVelocity(&RightRearMotor );
    /* USER CODE END MotorAdjustcb */
}

/* USER CODE BEGIN Application */
void on_topic(
        uxrSession* session,
        uxrObjectId object_id,
        uint16_t request_id,
        uxrStreamId stream_id,
        struct ucdrBuffer* ub,
        uint16_t length,
        void* args)
{
    (void) session; (void) object_id; (void) request_id; (void) stream_id; (void) length;
    control_msgs_msg_JointJog_deserialize_topic(ub, &msg_joint_jog);
    DCMotor_SetVelocity(&LeftFrontMotor, (float)msg_joint_jog.velocities[0]);
    DCMotor_SetVelocity(&LeftRearMotor, (float)msg_joint_jog.velocities[1]);
    DCMotor_SetVelocity(&RightFrontMotor, (float)msg_joint_jog.velocities[2]);
    DCMotor_SetVelocity(&RightRearMotor, (float)msg_joint_jog.velocities[3]);
    printf("[INFO] recv vel: 1:%.2f | 2:%.2f | 3:%.2f | 4:%.2f\r\n",
            LeftFrontMotor.TargetVelocity,
            LeftRearMotor.TargetVelocity,
            RightFrontMotor.TargetVelocity,
            RightRearMotor.TargetVelocity);
}
/* USER CODE END Application */
